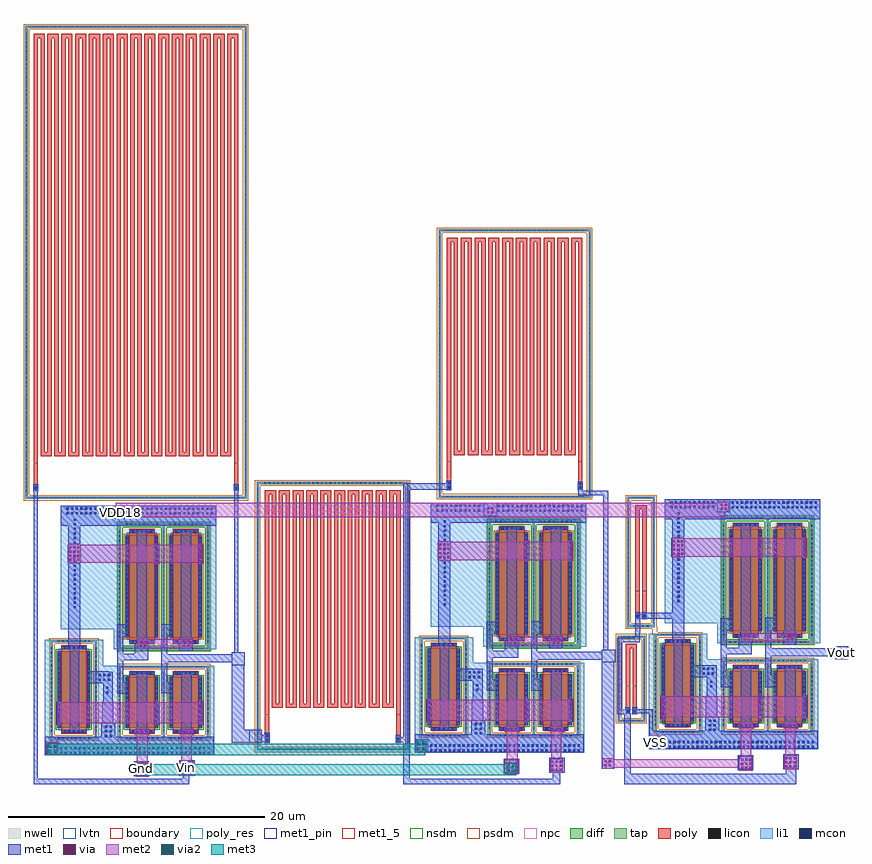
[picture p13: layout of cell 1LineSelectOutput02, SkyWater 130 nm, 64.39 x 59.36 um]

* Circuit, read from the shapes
.subckt 1LineSelectOutput02 Gnd VDD18 VSS Vin Vout
XM1 VSS VDD18 n1 VSS sky130_fd_pr__nfet_01v8_lvt w=6 l=2
XM2 n1 Gnd n2 VSS sky130_fd_pr__nfet_01v8 w=4 l=2
XM3 n1 Vin invOpAmp_2/Vin VSS sky130_fd_pr__nfet_01v8 w=4 l=2
XM4 VSS VDD18 n3 VSS sky130_fd_pr__nfet_01v8_lvt w=6 l=2
XM5 n3 Gnd n4 VSS sky130_fd_pr__nfet_01v8 w=4 l=2
XM6 n3 invOpAmp_2/OpAmp5TNeg_2/Vminus oneBitADC_0/Vin VSS sky130_fd_pr__nfet_01v8 w=4 l=2
XM7 VSS VDD18 n5 VSS sky130_fd_pr__nfet_01v8_lvt w=6 l=2
XM8 n5 oneBitADC_0/Vin n6 VSS sky130_fd_pr__nfet_01v8 w=4 l=2
XM9 n5 oneBitADC_0/OpAmp5T_0/Vminus Vout VSS sky130_fd_pr__nfet_01v8 w=4 l=2
XM10 VDD18 n2 n2 VDD18 sky130_fd_pr__pfet_01v8_lvt w=8 l=2
XM11 VDD18 n2 invOpAmp_2/Vin VDD18 sky130_fd_pr__pfet_01v8_lvt w=8 l=2
XM12 VDD18 n4 n4 VDD18 sky130_fd_pr__pfet_01v8_lvt w=8 l=2
XM13 VDD18 n4 oneBitADC_0/Vin VDD18 sky130_fd_pr__pfet_01v8_lvt w=8 l=2
XM14 VDD18 n6 n6 VDD18 sky130_fd_pr__pfet_01v8_lvt w=8 l=2
XM15 VDD18 n6 Vout VDD18 sky130_fd_pr__pfet_01v8_lvt w=8 l=2
R16 Vin invOpAmp_2/Vin sky130_fd_pr__res_generic_po w=0.33 l=997.13
R17 invOpAmp_2/Vin invOpAmp_2/OpAmp5TNeg_2/Vminus sky130_fd_pr__res_generic_po w=0.33 l=345.03
R18 invOpAmp_2/OpAmp5TNeg_2/Vminus oneBitADC_0/Vin sky130_fd_pr__res_generic_po w=0.33 l=345.03
R19 oneBitADC_0/OpAmp5T_0/Vminus VSS sky130_fd_pr__res_generic_po w=0.33 l=6.79
R20 oneBitADC_0/OpAmp5T_0/Vminus VDD18 sky130_fd_pr__res_generic_po w=0.33 l=13.65
.ends

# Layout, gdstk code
import gdstk
lib = gdstk.Library(unit=1e-6, precision=1e-09)
def R(c, l, rs):  # rectangles x0, y0, x1, y1
    for r in rs: c.add(gdstk.rectangle(r[:2], r[2:], *l))
def A(c, l, x, y, w, h, nx, ny, dx, dy):  # array of equal rectangles
    R(c, l, [(x+i*dx, y+j*dy, x+i*dx+w, y+j*dy+h) for i in range(nx) for j in range(ny)])
nwell = (64, 20)
diff = (65, 20)
tap = (65, 44)
poly_res = (66, 13)
poly = (66, 20)
licon = (66, 44)
li1 = (67, 20)
mcon = (67, 44)
met1_5 = (68, 5)
met1_pin = (68, 16)
met1 = (68, 20)
via = (68, 44)
met2 = (69, 20)
via2 = (69, 44)
met3 = (70, 20)
nsdm = (93, 44)
psdm = (94, 20)
npc = (95, 20)
lvtn = (125, 44)
boundary = (235, 4)

sky130_fd_pr__nfet_01v8_ = lib.new_cell('sky130_fd_pr__nfet_01v8_AHRV9L')
R(sky130_fd_pr__nfet_01v8_, diff, [(-1.29,-2,1.29,2)])
R(sky130_fd_pr__nfet_01v8_, tap, [(-1.8,-2.87,1.8,-2.7), (-1.8,-2.7,-1.63,2.7), (1.63,-2.7,1.8,2.7), (-1.8,2.7,1.8,2.87)])
R(sky130_fd_pr__nfet_01v8_, poly, [(-1,-2.44,1,2.44)])
A(sky130_fd_pr__nfet_01v8_, licon, -1.275, -2.87, 0.17, 0.17, 8, 2, 0.34, 5.57)
A(sky130_fd_pr__nfet_01v8_, licon, -0.765, -2.36, 0.17, 0.17, 5, 2, 0.34, 4.55)
A(sky130_fd_pr__nfet_01v8_, licon, -1.8, -2.295, 0.17, 0.17, 1, 14, 0, 0.34)
A(sky130_fd_pr__nfet_01v8_, licon, 1.63, -2.295, 0.17, 0.17, 1, 14, 0, 0.34)
A(sky130_fd_pr__nfet_01v8_, licon, -1.23, -1.785, 0.17, 0.17, 1, 11, 0, 0.34)
A(sky130_fd_pr__nfet_01v8_, licon, 1.06, -1.785, 0.17, 0.17, 1, 11, 0, 0.34)
R(sky130_fd_pr__nfet_01v8_, li1, [(-1.8,-2.87,1.8,-2.7), (-1.8,-2.7,-1.63,2.7), (1.63,-2.7,1.8,2.7), (-1,-2.36,1,-2.19), (-1.23,-2.02,-1.06,2.02), (1.06,-2.02,1.23,2.02), (-1,2.19,1,2.36), (-1.8,2.7,1.8,2.87)])
A(sky130_fd_pr__nfet_01v8_, mcon, -0.805, -2.36, 0.17, 0.17, 5, 2, 0.36, 4.55)
A(sky130_fd_pr__nfet_01v8_, mcon, -1.23, -1.885, 0.17, 0.17, 1, 11, 0, 0.36)
A(sky130_fd_pr__nfet_01v8_, mcon, 1.06, -1.885, 0.17, 0.17, 1, 11, 0, 0.36)
R(sky130_fd_pr__nfet_01v8_, met1, [(-0.98,-2.39,0.98,-2.16), (-1.26,-2,-1.03,2), (1.03,-2,1.26,2), (-0.98,2.16,0.98,2.39)])
R(sky130_fd_pr__nfet_01v8_, nsdm, [(-1.415,-2.125,1.415,2.125)])
R(sky130_fd_pr__nfet_01v8_, psdm, [(-1.925,-2.995,1.925,-2.575), (-1.925,-2.575,-1.505,2.575), (1.505,-2.575,1.925,2.575), (-1.925,2.575,1.925,2.995)])
R(sky130_fd_pr__nfet_01v8_, npc, [(-0.865,-2.46,0.865,-2.09), (-0.865,2.09,0.865,2.46)])
R(sky130_fd_pr__nfet_01v8_, boundary, [(-1.71,-2.78,1.71,2.78)])

c_sky130_fd_pr__nfet_01v8_ = lib.new_cell('sky130_fd_pr__nfet_01v8_lvt_XVWV9B')
R(c_sky130_fd_pr__nfet_01v8_, diff, [(-1.29,-3,1.29,3)])
R(c_sky130_fd_pr__nfet_01v8_, tap, [(-1.8,-3.87,1.8,-3.7), (-1.8,-3.7,-1.63,3.7), (1.63,-3.7,1.8,3.7), (-1.8,3.7,1.8,3.87)])
R(c_sky130_fd_pr__nfet_01v8_, poly, [(-1,-3.44,1,3.44)])
A(c_sky130_fd_pr__nfet_01v8_, licon, -1.275, -3.87, 0.17, 0.17, 8, 2, 0.34, 7.57)
A(c_sky130_fd_pr__nfet_01v8_, licon, -0.765, -3.36, 0.17, 0.17, 5, 2, 0.34, 6.55)
A(c_sky130_fd_pr__nfet_01v8_, licon, -1.8, -3.315, 0.17, 0.17, 1, 20, 0, 0.34)
A(c_sky130_fd_pr__nfet_01v8_, licon, 1.63, -3.315, 0.17, 0.17, 1, 20, 0, 0.34)
A(c_sky130_fd_pr__nfet_01v8_, licon, -1.23, -2.805, 0.17, 0.17, 1, 17, 0, 0.34)
A(c_sky130_fd_pr__nfet_01v8_, licon, 1.06, -2.805, 0.17, 0.17, 1, 17, 0, 0.34)
R(c_sky130_fd_pr__nfet_01v8_, li1, [(-1.8,-3.87,1.8,-3.7), (-1.8,-3.7,-1.63,3.7), (1.63,-3.7,1.8,3.7), (-1,-3.36,1,-3.19), (-1.23,-3.02,-1.06,3.02), (1.06,-3.02,1.23,3.02), (-1,3.19,1,3.36), (-1.8,3.7,1.8,3.87)])
A(c_sky130_fd_pr__nfet_01v8_, mcon, -0.805, -3.36, 0.17, 0.17, 5, 2, 0.36, 6.55)
A(c_sky130_fd_pr__nfet_01v8_, mcon, -1.23, -2.785, 0.17, 0.17, 1, 16, 0, 0.36)
A(c_sky130_fd_pr__nfet_01v8_, mcon, 1.06, -2.785, 0.17, 0.17, 1, 16, 0, 0.36)
R(c_sky130_fd_pr__nfet_01v8_, met1, [(-0.98,-3.39,0.98,-3.16), (-1.26,-3,-1.03,3), (1.03,-3,1.26,3), (-0.98,3.16,0.98,3.39)])
R(c_sky130_fd_pr__nfet_01v8_, nsdm, [(-1.415,-3.125,1.415,3.125)])
R(c_sky130_fd_pr__nfet_01v8_, psdm, [(-1.925,-3.995,1.925,-3.575), (-1.925,-3.575,-1.505,3.575), (1.505,-3.575,1.925,3.575), (-1.925,3.575,1.925,3.995)])
R(c_sky130_fd_pr__nfet_01v8_, npc, [(-0.865,-3.46,0.865,-3.09), (-0.865,3.09,0.865,3.46)])
R(c_sky130_fd_pr__nfet_01v8_, lvtn, [(-1.18,-3.18,1.18,3.18)])
R(c_sky130_fd_pr__nfet_01v8_, boundary, [(-1.71,-3.78,1.71,3.78)])

sky130_fd_pr__pfet_01v8_ = lib.new_cell('sky130_fd_pr__pfet_01v8_lvt_GWPMZG')
R(sky130_fd_pr__pfet_01v8_, nwell, [(-1.98,-5.095,1.98,5.095)])
R(sky130_fd_pr__pfet_01v8_, diff, [(-1.29,-4,1.29,4)])
R(sky130_fd_pr__pfet_01v8_, tap, [(-1.8,-4.915,1.8,-4.745), (-1.8,-4.745,-1.63,4.745), (1.63,-4.745,1.8,4.745), (-1.8,4.745,1.8,4.915)])
R(sky130_fd_pr__pfet_01v8_, poly, [(-1,-4.485,1,4.485)])
A(sky130_fd_pr__pfet_01v8_, licon, -1.275, -4.915, 0.17, 0.17, 8, 2, 0.34, 9.66)
A(sky130_fd_pr__pfet_01v8_, licon, -0.765, -4.405, 0.17, 0.17, 5, 2, 0.34, 8.64)
A(sky130_fd_pr__pfet_01v8_, licon, -1.8, -4.335, 0.17, 0.17, 1, 26, 0, 0.34)
A(sky130_fd_pr__pfet_01v8_, licon, 1.63, -4.335, 0.17, 0.17, 1, 26, 0, 0.34)
A(sky130_fd_pr__pfet_01v8_, licon, -1.23, -3.825, 0.17, 0.17, 1, 23, 0, 0.34)
A(sky130_fd_pr__pfet_01v8_, licon, 1.06, -3.825, 0.17, 0.17, 1, 23, 0, 0.34)
R(sky130_fd_pr__pfet_01v8_, li1, [(-1.8,-4.915,1.8,-4.745), (-1.8,-4.745,-1.63,4.745), (1.63,-4.745,1.8,4.745), (-1,-4.405,1,-4.235), (-1.23,-4.02,-1.06,4.02), (1.06,-4.02,1.23,4.02), (-1,4.235,1,4.405), (-1.8,4.745,1.8,4.915)])
A(sky130_fd_pr__pfet_01v8_, mcon, -0.805, -4.405, 0.17, 0.17, 5, 2, 0.36, 8.64)
A(sky130_fd_pr__pfet_01v8_, mcon, -1.23, -3.865, 0.17, 0.17, 1, 22, 0, 0.36)
A(sky130_fd_pr__pfet_01v8_, mcon, 1.06, -3.865, 0.17, 0.17, 1, 22, 0, 0.36)
R(sky130_fd_pr__pfet_01v8_, met1, [(-0.98,-4.435,0.98,-4.205), (-1.26,-4,-1.03,4), (1.03,-4,1.26,4), (-0.98,4.205,0.98,4.435)])
R(sky130_fd_pr__pfet_01v8_, nsdm, [(-1.925,-5.04,1.925,-4.62), (-1.925,-4.62,-1.505,4.62), (1.505,-4.62,1.925,4.62), (-1.925,4.62,1.925,5.04)])
R(sky130_fd_pr__pfet_01v8_, psdm, [(-1.415,-4.125,1.415,4.125)])
R(sky130_fd_pr__pfet_01v8_, npc, [(-0.865,-4.505,0.865,-4.135), (-0.865,4.135,0.865,4.505)])
R(sky130_fd_pr__pfet_01v8_, lvtn, [(-1.18,-4.18,1.18,4.18)])
R(sky130_fd_pr__pfet_01v8_, boundary, [(-1.715,-4.83,1.715,4.83)])

opamp5t = lib.new_cell('OpAmp5T')
R(opamp5t, li1, [(1.11,-9.16,14.34,-7.7), (1.11,-7.7,1.74,-0.14), (5,-7.7,7.05,-2.14), (13.74,-7.7,14.34,-2.14), (5,-2.14,5.68,-0.14), (6.47,-0.87,7.05,0.68), (13.74,-0.87,14.49,8.79), (2.34,0.68,7.05,8.79), (2.34,8.79,14.49,10.35)])
A(opamp5t, mcon, 2.31, -9.04, 0.17, 0.17, 33, 2, 0.36, 0.36)
A(opamp5t, mcon, 5.8, -7.725, 0.17, 0.17, 1, 3, 0, 0.36)
A(opamp5t, mcon, 6.16, -7.725, 0.17, 0.17, 1, 3, 0, 0.36)
A(opamp5t, mcon, 5.31, -3.325, 0.17, 0.17, 3, 2, 0.36, 0.36)
A(opamp5t, mcon, 3.35, 2.335, 0.17, 0.17, 1, 20, 0, 0.36)
A(opamp5t, mcon, 7.58, 9.665, 0.17, 0.17, 19, 2, 0.36, 0.36)
A(opamp5t, mcon, 2.795, 9.675, 0.17, 0.17, 10, 2, 0.36, 0.36)
R(opamp5t, mcon, [(5.9,-4.325,6.07,-4.155), (5.9,-3.965,6.07,-3.795)])
R(opamp5t, met1_pin, [(8.15,-10.71,9.15,-9.71), (11.67,-10.61,12.67,-9.61), (1.14,-9.12,2.14,-8.12), (15.69,-2.11,16.69,-1.11), (6.47,9.34,7.47,10.34)])
R(opamp5t, met1, [(8.05,-10.79,9.26,-9.61), (11.62,-10.73,12.83,-9.55), (1.14,-9.12,14.31,-7.7), (5.51,-7.7,6.61,-6.66), (8.14,-7.5,9.3,-7.14), (11.64,-7.5,12.8,-7.14), (3.06,-7.37,3.78,-0.82), (8.29,-7.14,9.12,-2.65), (11.74,-7.14,12.57,-2.65), (2.01,-6.76,2.42,-4.97), (9.62,-6.75,10.03,-4.96), (13.06,-6.73,13.47,-4.94), (5.57,-6.66,6.46,-4.98), (5.65,-4.98,6.4,-3.53), (6.74,-4.33,7.62,-3.44), (10.19,-4.32,11.07,-3.43), (4.43,-3.53,6.4,-2.61), (6.74,-3.44,7.21,-1.74), (10.19,-3.43,10.66,-1.9), (4.43,-2.61,6.08,-2.6), (15.69,-2.11,16.69,-1.9), (10.19,-1.9,16.69,-1.27), (6.74,-1.74,9.17,-1.21), (10.19,-1.27,10.66,0.13), (15.69,-1.27,16.69,-1.11), (6.74,-1.21,7.21,0.12), (8.14,-1.21,9.17,-0.74), (11.62,-0.98,12.64,0.01), (2.93,-0.82,3.87,5.89), (8.14,-0.74,9.22,-0.19), (8.27,-0.19,9.22,-0.11), (8.27,-0.11,9.17,0.01), (8.3,0.01,9.06,8.45), (11.71,0.01,12.54,8.45), (6.74,0.12,7.6,1.09), (10.19,0.13,11.05,1.1), (13.05,5.81,13.45,7.37), (9.63,5.82,10.03,7.38), (2.88,5.89,3.92,7.31), (2.93,7.31,3.87,8.79), (2.34,8.79,14.49,10.35)])
A(opamp5t, via, 8.32, -10.675, 0.15, 0.15, 3, 3, 0.32, 0.32)
A(opamp5t, via, 11.78, -10.565, 0.15, 0.15, 3, 3, 0.32, 0.32)
A(opamp5t, via, 8.325, -7.395, 0.15, 0.15, 3, 1, 0.32, 0)
A(opamp5t, via, 11.825, -7.395, 0.15, 0.15, 3, 1, 0.32, 0)
A(opamp5t, via, 2.14, -6.58, 0.15, 0.15, 1, 5, 0, 0.32)
A(opamp5t, via, 9.75, -6.57, 0.15, 0.15, 1, 5, 0, 0.32)
A(opamp5t, via, 13.19, -6.55, 0.15, 0.15, 1, 5, 0, 0.32)
A(opamp5t, via, 13.175, 5.875, 0.15, 0.15, 1, 5, 0, 0.32)
A(opamp5t, via, 9.755, 5.885, 0.15, 0.15, 1, 5, 0, 0.32)
A(opamp5t, via, 3.005, 6.045, 0.15, 0.15, 3, 4, 0.32, 0.32)
R(opamp5t, via, [(8.51,-0.66,8.66,-0.51), (8.83,-0.66,8.98,-0.51), (11.91,-0.65,12.06,-0.5), (12.23,-0.65,12.38,-0.5), (8.51,-0.34,8.66,-0.19), (8.83,-0.34,8.98,-0.19), (11.91,-0.33,12.06,-0.18), (12.23,-0.33,12.38,-0.18)])
R(opamp5t, met2, [(8.23,-10.84,9.2,-9.72), (11.69,-10.73,12.66,-9.61), (8.28,-9.72,9.13,-7.55), (11.76,-9.61,12.56,-7.55), (8.19,-7.55,9.25,-7.09), (11.69,-7.55,12.75,-7.09), (2.06,-6.81,2.37,-6.66), (9.67,-6.8,9.98,-6.66), (13.11,-6.78,13.42,-6.66), (2.06,-6.66,13.42,-5.02), (2.06,-5.02,2.37,-4.92), (9.67,-5.02,9.98,-4.91), (13.11,-5.02,13.42,-4.89), (8.32,-0.79,9.17,-0.74), (11.72,-0.78,12.57,-0.74), (8.32,-0.74,12.65,-0.1), (8.32,-0.1,9.17,-0.06), (11.72,-0.1,12.57,-0.05), (13.1,5.76,13.4,5.89), (9.68,5.77,9.98,5.89), (2.93,5.84,3.87,5.89), (2.93,5.89,13.4,7.31), (2.93,7.31,3.87,7.36), (9.68,7.31,9.98,7.43), (13.1,7.31,13.4,7.42)])
opamp5t.add(gdstk.Reference(sky130_fd_pr__nfet_01v8_, (8.68,-5.01)))
opamp5t.add(gdstk.Reference(c_sky130_fd_pr__nfet_01v8_, (3.37,-4.01)))
opamp5t.add(gdstk.Reference(sky130_fd_pr__nfet_01v8_, (12.11,-5.01)))
opamp5t.add(gdstk.Reference(sky130_fd_pr__pfet_01v8_, (12.11,4.045)))
opamp5t.add(gdstk.Reference(sky130_fd_pr__pfet_01v8_, (8.68,4.045)))
opamp5t.add(gdstk.Label('VCC', (6.97,9.84), layer=68, texttype=5))
opamp5t.add(gdstk.Label('VSS', (1.64,-8.62), layer=68, texttype=5))
opamp5t.add(gdstk.Label('Vplus', (8.65,-10.21), layer=68, texttype=5))
opamp5t.add(gdstk.Label('Vminus', (12.17,-10.11), layer=68, texttype=5))
opamp5t.add(gdstk.Label('Vout', (16.19,-1.61), layer=68, texttype=5))

sky130_fd_pr__res_generi = lib.new_cell('sky130_fd_pr__res_generic_po_R2PSDC')
R(sky130_fd_pr__res_generi, tap, [(-1.085,-5.085,1.085,-4.915), (-1.085,-4.915,-0.915,4.915), (0.915,-4.915,1.085,4.915), (-1.085,4.915,1.085,5.085)])
R(sky130_fd_pr__res_generi, poly_res, [(-0.435,-2.285,-0.105,4.105), (0.105,-2.285,0.435,4.105), (-0.435,4.105,0.435,4.435)])
R(sky130_fd_pr__res_generi, poly, [(-0.435,-4.435,-0.105,4.105), (0.105,-4.435,0.435,4.105), (-0.435,4.105,0.435,4.435)])
A(sky130_fd_pr__res_generi, licon, -0.595, -5.085, 0.17, 0.17, 4, 2, 0.34, 10)
A(sky130_fd_pr__res_generi, licon, -1.085, -4.505, 0.17, 0.17, 1, 27, 0, 0.34)
A(sky130_fd_pr__res_generi, licon, 0.915, -4.505, 0.17, 0.17, 1, 27, 0, 0.34)
R(sky130_fd_pr__res_generi, licon, [(-0.355,-4.355,-0.185,-4.185), (0.185,-4.355,0.355,-4.185)])
R(sky130_fd_pr__res_generi, li1, [(-1.085,-5.085,1.085,-4.915), (-1.085,-4.915,-0.915,4.915), (0.915,-4.915,1.085,4.915), (-0.435,-4.355,-0.105,-4.185), (0.105,-4.355,0.435,-4.185), (-1.085,4.915,1.085,5.085)])
R(sky130_fd_pr__res_generi, psdm, [(-1.21,-5.21,1.21,-4.79), (-1.21,-4.79,-0.79,4.79), (0.79,-4.79,1.21,4.79), (-1.21,4.79,1.21,5.21)])
R(sky130_fd_pr__res_generi, npc, [(-0.455,-4.455,0.455,-4.085)])
R(sky130_fd_pr__res_generi, boundary, [(-1,-5,1,5)])

c_sky130_fd_pr__res_generi = lib.new_cell('sky130_fd_pr__res_generic_po_LSFYMF')
R(c_sky130_fd_pr__res_generi, tap, [(-1.085,-3.37,1.085,-3.2), (-1.085,-3.2,-0.915,3.2), (0.915,-3.2,1.085,3.2), (-1.085,3.2,1.085,3.37)])
R(c_sky130_fd_pr__res_generi, poly_res, [(-0.435,-0.57,-0.105,2.39), (0.105,-0.57,0.435,2.39), (-0.435,2.39,0.435,2.72)])
R(c_sky130_fd_pr__res_generi, poly, [(-0.435,-2.72,-0.105,2.39), (0.105,-2.72,0.435,2.39), (-0.435,2.39,0.435,2.72)])
A(c_sky130_fd_pr__res_generi, licon, -0.595, -3.37, 0.17, 0.17, 4, 2, 0.34, 6.57)
A(c_sky130_fd_pr__res_generi, licon, -1.085, -2.805, 0.17, 0.17, 1, 17, 0, 0.34)
A(c_sky130_fd_pr__res_generi, licon, 0.915, -2.805, 0.17, 0.17, 1, 17, 0, 0.34)
R(c_sky130_fd_pr__res_generi, licon, [(-0.355,-2.64,-0.185,-2.47), (0.185,-2.64,0.355,-2.47)])
R(c_sky130_fd_pr__res_generi, li1, [(-1.085,-3.37,1.085,-3.2), (-1.085,-3.2,-0.915,3.2), (0.915,-3.2,1.085,3.2), (-0.435,-2.64,-0.105,-2.47), (0.105,-2.64,0.435,-2.47), (-1.085,3.2,1.085,3.37)])
R(c_sky130_fd_pr__res_generi, psdm, [(-1.21,-3.495,1.21,-3.075), (-1.21,-3.075,-0.79,3.075), (0.79,-3.075,1.21,3.075), (-1.21,3.075,1.21,3.495)])
R(c_sky130_fd_pr__res_generi, npc, [(-0.455,-2.74,0.455,-2.37)])
R(c_sky130_fd_pr__res_generi, boundary, [(-1,-3.285,1,3.285)])

onebitadc = lib.new_cell('oneBitADC')
R(onebitadc, li1, [(4.11,6.94,4.44,7.39), (4.65,6.94,4.98,7.39), (4.86,14.35,5.19,14.8), (5.4,14.35,5.73,14.8)])
R(onebitadc, mcon, [(4.19,7.08,4.36,7.25), (4.73,7.08,4.9,7.25), (4.94,14.49,5.11,14.66), (5.48,14.49,5.65,14.66)])
R(onebitadc, met1_pin, [(12.94,2.6,13.94,3.6), (5.93,4.19,6.93,5.19), (20.48,11.2,21.48,12.2), (11.26,22.65,12.26,23.65)])
R(onebitadc, met1, [(3.99,1.44,17.4,2.24), (3.99,2.24,4.48,6.88), (16.61,2.24,17.4,3.09), (12.94,2.6,13.94,3.6), (5.93,4.19,6.93,5.19), (5.93,5.3,6.21,6.95), (3.45,6.88,4.48,6.89), (4.62,6.88,5.01,6.95), (3.45,6.89,4.47,7.23), (4.62,6.95,6.21,7.29), (3.45,7.23,3.82,12.53), (4.08,7.23,4.47,7.45), (4.62,7.29,5.01,7.45), (20.48,11.2,21.48,12.2), (3.45,12.53,5.19,12.87), (4.86,12.87,5.19,13.25), (4.86,13.25,5.22,14.29), (4.83,14.29,5.22,14.86), (5.37,14.29,5.76,14.35), (5.37,14.35,8.14,14.8), (5.37,14.8,5.76,14.86), (11.26,22.65,12.26,23.65)])
R(onebitadc, psdm, [(6.18,13.095,6.235,13.295), (6.18,13.295,6.56,13.575), (6.505,13.575,6.56,13.775)])
onebitadc.add(gdstk.Reference(opamp5t, (4.79,13.31)))
onebitadc.add(gdstk.Reference(sky130_fd_pr__res_generi, (5.295,18.785)))
onebitadc.add(gdstk.Reference(c_sky130_fd_pr__res_generi, (4.545,9.66)))
onebitadc.add(gdstk.Label('VCC', (11.76,23.15), layer=68, texttype=5))
onebitadc.add(gdstk.Label('VSS', (6.43,4.69), layer=68, texttype=5))
onebitadc.add(gdstk.Label('Vin', (13.44,3.1), layer=68, texttype=5))
onebitadc.add(gdstk.Label('Y', (20.98,11.7), layer=68, texttype=5))

c_sky130_fd_pr__res_generi_ = lib.new_cell('sky130_fd_pr__res_generic_po_CUHBBY')
R(c_sky130_fd_pr__res_generi_, tap, [(-8.645,-18.485,8.645,-18.315), (-8.645,-18.315,-8.475,18.315), (8.475,-18.315,8.645,18.315), (-8.645,18.315,8.645,18.485)])
A(c_sky130_fd_pr__res_generi_, poly_res, -7.455, -15.165, 0.87, 0.33, 14, 1, 1.08, 0)
A(c_sky130_fd_pr__res_generi_, poly_res, -7.455, -14.835, 0.33, 32.34, 28, 1, 0.54, 0)
A(c_sky130_fd_pr__res_generi_, poly_res, -7.995, 17.505, 0.87, 0.33, 15, 1, 1.08, 0)
R(c_sky130_fd_pr__res_generi_, poly_res, [(-7.995,-15.685,-7.665,17.505), (7.665,-15.685,7.995,17.505)])
A(c_sky130_fd_pr__res_generi_, poly, -7.455, -15.165, 0.87, 0.33, 14, 1, 1.08, 0)
A(c_sky130_fd_pr__res_generi_, poly, -7.455, -14.835, 0.33, 32.34, 28, 1, 0.54, 0)
A(c_sky130_fd_pr__res_generi_, poly, -7.995, 17.505, 0.87, 0.33, 15, 1, 1.08, 0)
R(c_sky130_fd_pr__res_generi_, poly, [(-7.995,-17.835,-7.665,17.505), (7.665,-17.835,7.995,17.505)])
A(c_sky130_fd_pr__res_generi_, licon, -8.075, -18.485, 0.17, 0.17, 48, 2, 0.34, 36.8)
A(c_sky130_fd_pr__res_generi_, licon, -8.645, -17.935, 0.17, 0.17, 1, 106, 0, 0.34)
A(c_sky130_fd_pr__res_generi_, licon, 8.475, -17.935, 0.17, 0.17, 1, 106, 0, 0.34)
R(c_sky130_fd_pr__res_generi_, licon, [(-7.915,-17.755,-7.745,-17.585), (7.745,-17.755,7.915,-17.585)])
R(c_sky130_fd_pr__res_generi_, li1, [(-8.645,-18.485,8.645,-18.315), (-8.645,-18.315,-8.475,18.315), (8.475,-18.315,8.645,18.315), (-7.995,-17.755,-7.665,-17.585), (7.665,-17.755,7.995,-17.585), (-8.645,18.315,8.645,18.485)])
R(c_sky130_fd_pr__res_generi_, psdm, [(-8.77,-18.61,8.77,-18.19), (-8.77,-18.19,-8.35,18.19), (8.35,-18.19,8.77,18.19), (-8.77,18.19,8.77,18.61)])
R(c_sky130_fd_pr__res_generi_, npc, [(-8.015,-17.855,-7.645,-17.485), (7.645,-17.855,8.015,-17.485)])
R(c_sky130_fd_pr__res_generi_, boundary, [(-8.56,-18.4,8.56,18.4)])

opamp5tneg = lib.new_cell('OpAmp5TNeg')
R(opamp5tneg, li1, [(1.11,-9.16,14.34,-7.7), (1.11,-7.7,1.74,-0.14), (5,-7.7,7.05,-2.14), (13.74,-7.7,14.34,-2.14), (5,-2.14,5.68,-0.14), (6.47,-0.87,7.05,0.68), (13.74,-0.87,14.49,8.79), (2.34,0.68,7.05,8.79), (2.34,8.79,14.49,10.35)])
A(opamp5tneg, mcon, 2.31, -9.04, 0.17, 0.17, 33, 2, 0.36, 0.36)
A(opamp5tneg, mcon, 5.8, -7.725, 0.17, 0.17, 1, 3, 0, 0.36)
A(opamp5tneg, mcon, 6.16, -7.725, 0.17, 0.17, 1, 3, 0, 0.36)
A(opamp5tneg, mcon, 5.31, -3.325, 0.17, 0.17, 3, 2, 0.36, 0.36)
A(opamp5tneg, mcon, 3.35, 2.335, 0.17, 0.17, 1, 20, 0, 0.36)
A(opamp5tneg, mcon, 7.58, 9.665, 0.17, 0.17, 19, 2, 0.36, 0.36)
A(opamp5tneg, mcon, 2.795, 9.675, 0.17, 0.17, 10, 2, 0.36, 0.36)
R(opamp5tneg, mcon, [(5.9,-4.325,6.07,-4.155), (5.9,-3.965,6.07,-3.795)])
R(opamp5tneg, met1_pin, [(8.15,-10.71,9.15,-9.71), (11.67,-10.61,12.67,-9.61), (1.17,-9.1,2.17,-8.1), (15.69,-2.11,16.69,-1.11), (6.49,9.32,7.49,10.32)])
R(opamp5tneg, met1, [(8.05,-10.79,9.26,-9.61), (11.62,-10.73,12.83,-9.55), (1.11,-9.12,14.31,-7.7), (5.51,-7.7,6.61,-6.66), (8.14,-7.5,9.3,-7.14), (11.64,-7.5,12.8,-7.14), (3.06,-7.37,3.78,-0.82), (8.29,-7.14,9.12,-2.65), (11.74,-7.14,12.57,-2.65), (2.01,-6.76,2.42,-4.97), (9.62,-6.75,10.03,-4.96), (13.06,-6.73,13.47,-4.94), (5.57,-6.66,6.46,-4.98), (5.65,-4.98,6.4,-3.53), (6.74,-4.33,7.62,-3.44), (10.19,-4.32,11.07,-3.43), (4.43,-3.53,6.4,-2.61), (6.74,-3.44,7.21,-1.74), (10.19,-3.43,10.66,-1.9), (4.43,-2.61,6.08,-2.6), (15.69,-2.11,16.69,-1.9), (10.19,-1.9,16.69,-1.27), (6.74,-1.74,9.17,-1.21), (10.19,-1.27,10.66,0.13), (15.69,-1.27,16.69,-1.11), (6.74,-1.21,7.21,0.12), (8.14,-1.21,9.17,-0.74), (11.62,-0.98,12.64,0.01), (2.93,-0.82,3.87,5.89), (8.14,-0.74,9.22,-0.19), (8.27,-0.19,9.22,-0.11), (8.27,-0.11,9.17,0.01), (8.3,0.01,9.06,8.45), (11.71,0.01,12.54,8.45), (6.74,0.12,7.6,1.09), (10.19,0.13,11.05,1.1), (13.05,5.81,13.45,7.37), (9.63,5.82,10.03,7.38), (2.88,5.89,3.92,7.31), (2.93,7.31,3.87,8.79), (2.34,8.79,14.49,10.35)])
A(opamp5tneg, via, 8.32, -10.675, 0.15, 0.15, 3, 3, 0.32, 0.32)
A(opamp5tneg, via, 11.78, -10.565, 0.15, 0.15, 3, 3, 0.32, 0.32)
A(opamp5tneg, via, 8.325, -7.395, 0.15, 0.15, 3, 1, 0.32, 0)
A(opamp5tneg, via, 11.825, -7.395, 0.15, 0.15, 3, 1, 0.32, 0)
A(opamp5tneg, via, 2.14, -6.58, 0.15, 0.15, 1, 5, 0, 0.32)
A(opamp5tneg, via, 9.75, -6.57, 0.15, 0.15, 1, 5, 0, 0.32)
A(opamp5tneg, via, 13.19, -6.55, 0.15, 0.15, 1, 5, 0, 0.32)
A(opamp5tneg, via, 13.175, 5.875, 0.15, 0.15, 1, 5, 0, 0.32)
A(opamp5tneg, via, 9.755, 5.885, 0.15, 0.15, 1, 5, 0, 0.32)
A(opamp5tneg, via, 3.005, 6.045, 0.15, 0.15, 3, 4, 0.32, 0.32)
R(opamp5tneg, via, [(8.51,-0.66,8.66,-0.51), (8.83,-0.66,8.98,-0.51), (11.91,-0.65,12.06,-0.5), (12.23,-0.65,12.38,-0.5), (8.51,-0.34,8.66,-0.19), (8.83,-0.34,8.98,-0.19), (11.91,-0.33,12.06,-0.18), (12.23,-0.33,12.38,-0.18)])
R(opamp5tneg, met2, [(8.23,-10.84,9.2,-9.72), (11.69,-10.73,12.66,-9.61), (8.28,-9.72,9.13,-7.55), (11.76,-9.61,12.56,-7.55), (8.19,-7.55,9.25,-7.09), (11.69,-7.55,12.75,-7.09), (2.06,-6.81,2.37,-6.66), (9.67,-6.8,9.98,-6.66), (13.11,-6.78,13.42,-6.66), (2.06,-6.66,13.42,-5.02), (2.06,-5.02,2.37,-4.92), (9.67,-5.02,9.98,-4.91), (13.11,-5.02,13.42,-4.89), (8.32,-0.79,9.17,-0.74), (11.72,-0.78,12.57,-0.74), (8.32,-0.74,12.65,-0.1), (8.32,-0.1,9.17,-0.06), (11.72,-0.1,12.57,-0.05), (13.1,5.76,13.4,5.89), (9.68,5.77,9.98,5.89), (2.93,5.84,3.87,5.89), (2.93,5.89,13.4,7.31), (2.93,7.31,3.87,7.36), (9.68,7.31,9.98,7.43), (13.1,7.31,13.4,7.42)])
opamp5tneg.add(gdstk.Reference(sky130_fd_pr__nfet_01v8_, (8.68,-5.01)))
opamp5tneg.add(gdstk.Reference(c_sky130_fd_pr__nfet_01v8_, (3.37,-4.01)))
opamp5tneg.add(gdstk.Reference(sky130_fd_pr__nfet_01v8_, (12.11,-5.01)))
opamp5tneg.add(gdstk.Reference(sky130_fd_pr__pfet_01v8_, (12.11,4.045)))
opamp5tneg.add(gdstk.Reference(sky130_fd_pr__pfet_01v8_, (8.68,4.045)))
opamp5tneg.add(gdstk.Label('VCC', (6.99,9.82), layer=68, texttype=5))
opamp5tneg.add(gdstk.Label('VSSneg', (1.67,-8.6), layer=68, texttype=5))
opamp5tneg.add(gdstk.Label('Vplus', (8.65,-10.21), layer=68, texttype=5))
opamp5tneg.add(gdstk.Label('Vminus', (12.17,-10.11), layer=68, texttype=5))
opamp5tneg.add(gdstk.Label('Vout', (16.19,-1.61), layer=68, texttype=5))

tia_02 = lib.new_cell('TIA_02')
R(tia_02, li1, [(1.49,25.09,1.82,25.52), (17.15,25.09,17.48,25.53)])
R(tia_02, mcon, [(1.57,25.22,1.74,25.39), (17.23,25.225,17.4,25.395)])
R(tia_02, met1_5, [(9.4,2.85,10.4,3.85), (2.42,4.48,3.42,5.48)])
R(tia_02, met1_pin, [(9.41,2.86,10.41,3.86), (12.95,2.96,13.95,3.96), (2.42,4.47,3.42,5.47), (16.97,11.47,17.97,12.47), (7.75,22.91,8.75,23.91)])
R(tia_02, met1, [(1.49,2.18,13.64,2.58), (1.49,2.58,1.82,25.03), (13.13,2.58,13.64,2.96), (9.4,2.85,10.4,2.86), (9.4,2.86,10.41,3.85), (12.95,2.96,13.95,3.96), (9.41,3.85,10.41,3.86), (2.42,4.47,3.42,5.48), (16.97,11.47,17.97,12.47), (17.15,12.47,17.48,25.03), (7.75,22.91,8.75,23.91), (1.46,25.03,1.85,25.58), (17.12,25.03,17.51,25.59)])
tia_02.add(gdstk.Reference(c_sky130_fd_pr__res_generi_, (9.485,42.925)))
tia_02.add(gdstk.Reference(opamp5tneg, (1.26,13.57)))
tia_02.add(gdstk.Label('Gnd', (9.9,3.35), layer=68, texttype=5))
tia_02.add(gdstk.Label('VSSneg', (2.92,4.98), layer=68, texttype=5))
tia_02.add(gdstk.Label('Vout', (17.47,11.97), layer=68, texttype=5))
tia_02.add(gdstk.Label('Vin', (13.45,3.46), layer=68, texttype=5))
tia_02.add(gdstk.Label('VDD', (8.25,23.41), layer=68, texttype=5))
tia_02.add(gdstk.Label('VSSneg', (2.92,4.97), layer=68, texttype=5))
tia_02.add(gdstk.Label('Gnd', (9.91,3.36), layer=68, texttype=5))

c_sky130_fd_pr__res_generi__ = lib.new_cell('sky130_fd_pr__res_generic_po_JXMYC9')
R(c_sky130_fd_pr__res_generi__, tap, [(-5.945,-10.485,5.945,-10.315), (-5.945,-10.315,-5.775,10.315), (5.775,-10.315,5.945,10.315), (-5.945,10.315,5.945,10.485)])
A(c_sky130_fd_pr__res_generi__, poly_res, -4.755, -7.165, 0.87, 0.33, 9, 1, 1.08, 0)
A(c_sky130_fd_pr__res_generi__, poly_res, -4.755, -6.835, 0.33, 16.34, 18, 1, 0.54, 0)
A(c_sky130_fd_pr__res_generi__, poly_res, -5.295, 9.505, 0.87, 0.33, 10, 1, 1.08, 0)
R(c_sky130_fd_pr__res_generi__, poly_res, [(-5.295,-7.685,-4.965,9.505), (4.965,-7.685,5.295,9.505)])
A(c_sky130_fd_pr__res_generi__, poly, -4.755, -7.165, 0.87, 0.33, 9, 1, 1.08, 0)
A(c_sky130_fd_pr__res_generi__, poly, -4.755, -6.835, 0.33, 16.34, 18, 1, 0.54, 0)
A(c_sky130_fd_pr__res_generi__, poly, -5.295, 9.505, 0.87, 0.33, 10, 1, 1.08, 0)
R(c_sky130_fd_pr__res_generi__, poly, [(-5.295,-9.835,-4.965,9.505), (4.965,-9.835,5.295,9.505)])
A(c_sky130_fd_pr__res_generi__, licon, -5.355, -10.485, 0.17, 0.17, 32, 2, 0.34, 20.8)
A(c_sky130_fd_pr__res_generi__, licon, -5.945, -9.945, 0.17, 0.17, 1, 59, 0, 0.34)
A(c_sky130_fd_pr__res_generi__, licon, 5.775, -9.945, 0.17, 0.17, 1, 59, 0, 0.34)
R(c_sky130_fd_pr__res_generi__, licon, [(-5.215,-9.755,-5.045,-9.585), (5.045,-9.755,5.215,-9.585)])
R(c_sky130_fd_pr__res_generi__, li1, [(-5.945,-10.485,5.945,-10.315), (-5.945,-10.315,-5.775,10.315), (5.775,-10.315,5.945,10.315), (-5.295,-9.755,-4.965,-9.585), (4.965,-9.755,5.295,-9.585), (-5.945,10.315,5.945,10.485)])
R(c_sky130_fd_pr__res_generi__, psdm, [(-6.07,-10.61,6.07,-10.19), (-6.07,-10.19,-5.65,10.19), (5.65,-10.19,6.07,10.19), (-6.07,10.19,6.07,10.61)])
R(c_sky130_fd_pr__res_generi__, npc, [(-5.315,-9.855,-4.945,-9.485), (4.945,-9.855,5.315,-9.485)])
R(c_sky130_fd_pr__res_generi__, boundary, [(-5.86,-10.4,5.86,10.4)])

c_sky130_fd_pr__res_generi___ = lib.new_cell('sky130_fd_pr__res_generic_po_DLPQUP')
R(c_sky130_fd_pr__res_generi___, tap, [(-5.945,-10.485,5.945,-10.315), (-5.945,-10.315,-5.775,10.315), (5.775,-10.315,5.945,10.315), (-5.945,10.315,5.945,10.485)])
A(c_sky130_fd_pr__res_generi___, poly_res, -4.755, -7.165, 0.87, 0.33, 9, 1, 1.08, 0)
A(c_sky130_fd_pr__res_generi___, poly_res, -4.755, -6.835, 0.33, 16.34, 18, 1, 0.54, 0)
A(c_sky130_fd_pr__res_generi___, poly_res, -5.295, 9.505, 0.87, 0.33, 10, 1, 1.08, 0)
R(c_sky130_fd_pr__res_generi___, poly_res, [(-5.295,-7.685,-4.965,9.505), (4.965,-7.685,5.295,9.505)])
A(c_sky130_fd_pr__res_generi___, poly, -4.755, -7.165, 0.87, 0.33, 9, 1, 1.08, 0)
A(c_sky130_fd_pr__res_generi___, poly, -4.755, -6.835, 0.33, 16.34, 18, 1, 0.54, 0)
A(c_sky130_fd_pr__res_generi___, poly, -5.295, 9.505, 0.87, 0.33, 10, 1, 1.08, 0)
R(c_sky130_fd_pr__res_generi___, poly, [(-5.295,-9.835,-4.965,9.505), (4.965,-9.835,5.295,9.505)])
A(c_sky130_fd_pr__res_generi___, licon, -5.355, -10.485, 0.17, 0.17, 32, 2, 0.34, 20.8)
A(c_sky130_fd_pr__res_generi___, licon, -5.945, -9.945, 0.17, 0.17, 1, 59, 0, 0.34)
A(c_sky130_fd_pr__res_generi___, licon, 5.775, -9.945, 0.17, 0.17, 1, 59, 0, 0.34)
R(c_sky130_fd_pr__res_generi___, licon, [(-5.215,-9.755,-5.045,-9.585), (5.045,-9.755,5.215,-9.585)])
R(c_sky130_fd_pr__res_generi___, li1, [(-5.945,-10.485,5.945,-10.315), (-5.945,-10.315,-5.775,10.315), (5.775,-10.315,5.945,10.315), (-5.295,-9.755,-4.965,-9.585), (4.965,-9.755,5.295,-9.585), (-5.945,10.315,5.945,10.485)])
R(c_sky130_fd_pr__res_generi___, psdm, [(-6.07,-10.61,6.07,-10.19), (-6.07,-10.19,-5.65,10.19), (5.65,-10.19,6.07,10.19), (-6.07,10.19,6.07,10.61)])
R(c_sky130_fd_pr__res_generi___, npc, [(-5.315,-9.855,-4.945,-9.485), (4.945,-9.855,5.315,-9.485)])
R(c_sky130_fd_pr__res_generi___, boundary, [(-5.86,-10.4,5.86,10.4)])

invopamp = lib.new_cell('invOpAmp')
R(invopamp, li1, [(4.39,4.97,4.72,5.47), (-5.88,4.98,-5.53,5.64), (8.34,24.71,8.67,25.32), (18.6,24.71,18.93,25.26)])
R(invopamp, mcon, [(-5.79,5.045,-5.62,5.215), (4.47,5.135,4.64,5.305), (-5.79,5.405,-5.62,5.575), (18.68,24.72,18.85,24.89), (8.42,24.75,8.59,24.92), (18.68,25.08,18.85,25.25), (8.42,25.11,8.59,25.28)])
R(invopamp, met1_5, [(12.88,2.58,13.88,3.58)])
R(invopamp, met1_pin, [(12.87,2.58,13.87,3.58), (5.9,4.2,6.9,5.2), (-7.11,4.92,-6.11,5.92), (20.48,11.2,21.48,12.2), (11.26,22.65,12.26,23.65)])
R(invopamp, met1, [(4.92,1.7,17.21,2.12), (4.92,2.12,5.46,4.97), (16.63,2.12,17.21,2.99), (12.87,2.58,13.88,3.58), (5.9,4.2,6.9,5.2), (4.36,4.91,4.75,4.97), (-7.11,4.92,-6.11,4.97), (-5.91,4.92,-5.5,4.97), (-7.11,4.97,-5.5,5.54), (4.36,4.97,5.46,5.37), (4.36,5.37,4.75,5.53), (4.92,5.37,5.46,5.38), (4.93,5.38,5.46,24.69), (-7.11,5.54,-6.11,5.92), (-5.91,5.54,-5.5,5.7), (20.48,11.2,21.48,12.2), (20.54,12.2,20.96,24.24), (11.26,22.65,12.26,23.65), (18.6,24.22,18.93,24.24), (18.6,24.24,20.96,24.6), (18.6,24.6,18.96,24.65), (8.31,24.65,8.7,24.69), (18.57,24.65,18.96,25.32), (4.93,24.69,8.7,25.2), (8.31,25.2,8.7,25.38)])
invopamp.add(gdstk.Reference(c_sky130_fd_pr__res_generi__, (-0.575,14.805)))
invopamp.add(gdstk.Reference(c_sky130_fd_pr__res_generi___, (13.635,34.545)))
invopamp.add(gdstk.Reference(opamp5tneg, (4.73,13.3)))
invopamp.add(gdstk.Label('Gnd', (13.38,3.08), layer=68, texttype=5))
invopamp.add(gdstk.Label('Vout', (20.98,11.7), layer=68, texttype=5))
invopamp.add(gdstk.Label('Vin', (-6.61,5.42), layer=68, texttype=5))
invopamp.add(gdstk.Label('VDD', (11.76,23.15), layer=68, texttype=5))
invopamp.add(gdstk.Label('VSSneg', (6.4,4.7), layer=68, texttype=5))
invopamp.add(gdstk.Label('Gnd', (13.37,3.08), layer=68, texttype=5))

c_1lineselectoutput02 = lib.new_cell('1LineSelectOutput02')
R(c_1lineselectoutput02, met1_5, [(67.1,5.75,68.1,6.75)])
R(c_1lineselectoutput02, met1_pin, [(26.94,3.68,27.94,4.68), (30.48,3.78,31.48,4.78), (81.65,12.76,82.65,13.76), (25.29,23.72,26.29,24.72)])
R(c_1lineselectoutput02, met1, [(26.94,3.68,27.94,4.68), (30.48,3.78,31.48,4.78), (63.41,4.21,64.36,4.26), (63.4,4.26,64.36,4.96), (63.41,4.96,64.36,12.79), (20.07,5.36,20.92,6.16), (48.85,5.55,49.74,6.34), (67.1,5.75,68.1,6.75), (34.52,6.22,35.96,7.22), (34.52,7.22,35.49,12.89), (81.65,12.76,82.65,13.76), (25.29,23.72,26.29,24.72), (54.23,24.02,55.15,24.72), (72.46,24.3,73.38,25)])
R(c_1lineselectoutput02, via, [(63.625,4.375,63.775,4.525), (63.945,4.375,64.095,4.525), (63.625,4.695,63.775,4.845), (63.945,4.695,64.095,4.845), (20.26,5.525,20.41,5.675), (20.58,5.525,20.73,5.675), (49.06,5.71,49.21,5.86), (49.38,5.71,49.53,5.86), (20.26,5.845,20.41,5.995), (20.58,5.845,20.73,5.995), (49.06,6.03,49.21,6.18), (49.38,6.03,49.53,6.18), (25.585,23.985,25.735,24.135), (25.905,23.985,26.055,24.135), (54.455,24.135,54.605,24.285), (54.775,24.135,54.925,24.285), (25.585,24.305,25.735,24.455), (25.905,24.305,26.055,24.455), (72.685,24.415,72.835,24.565), (73.005,24.415,73.155,24.565), (54.455,24.455,54.605,24.605), (54.775,24.455,54.925,24.605), (72.685,24.735,72.835,24.885), (73.005,24.735,73.155,24.885)])
R(c_1lineselectoutput02, met2, [(27,3.62,27.84,4.6), (55.95,3.85,56.7,4.68), (63.45,4.21,64.27,4.27), (63.45,4.27,74.82,4.94), (63.45,4.94,64.27,5.01), (20.12,5.31,20.87,6.21), (48.9,5.5,49.69,6.39), (25.41,23.82,26.23,23.83), (25.41,23.83,73.05,24.25), (25.41,24.25,73.33,24.62), (25.46,24.62,73.33,24.97), (72.51,24.97,73.33,25.05)])
R(c_1lineselectoutput02, via2, [(27.12,3.81,27.32,4.01), (27.52,3.81,27.72,4.01), (56.025,3.965,56.225,4.165), (56.425,3.965,56.625,4.165), (27.12,4.21,27.32,4.41), (27.52,4.21,27.72,4.41), (56.025,4.365,56.225,4.565), (56.425,4.365,56.625,4.565), (20.195,5.46,20.395,5.66), (20.595,5.46,20.795,5.66), (48.995,5.645,49.195,5.845), (49.395,5.645,49.595,5.845), (20.195,5.86,20.395,6.06), (20.595,5.86,20.795,6.06), (48.995,6.045,49.195,6.245), (49.395,6.045,49.595,6.245)])
R(c_1lineselectoutput02, met3, [(26.95,3.645,27.89,3.67), (26.95,3.67,56.72,3.875), (26.95,3.875,56.75,4.55), (26.95,4.55,27.89,4.575), (55.9,4.55,56.75,4.655), (20.29,5.25,49.61,5.335), (20.07,5.335,49.61,5.525), (20.07,5.525,49.74,6.16), (20.07,6.16,20.92,6.185), (48.85,6.16,49.74,6.365)])
c_1lineselectoutput02.add(gdstk.Reference(onebitadc, (61.17,1.56)))
c_1lineselectoutput02.add(gdstk.Reference(tia_02, (17.54,0.82)))
c_1lineselectoutput02.add(gdstk.Reference(invopamp, (42.96,1.3)))
c_1lineselectoutput02.add(gdstk.Label('VSS', (67.6,6.25), layer=68, texttype=5))
c_1lineselectoutput02.add(gdstk.Label('Vin', (30.98,4.28), layer=68, texttype=5))
c_1lineselectoutput02.add(gdstk.Label('VDD18', (25.79,24.22), layer=68, texttype=5))
c_1lineselectoutput02.add(gdstk.Label('Vout', (82.15,13.26), layer=68, texttype=5))
c_1lineselectoutput02.add(gdstk.Label('Gnd', (27.44,4.18), layer=68, texttype=5))

lib.write_gds('1LineSelectOutput02.gds')
